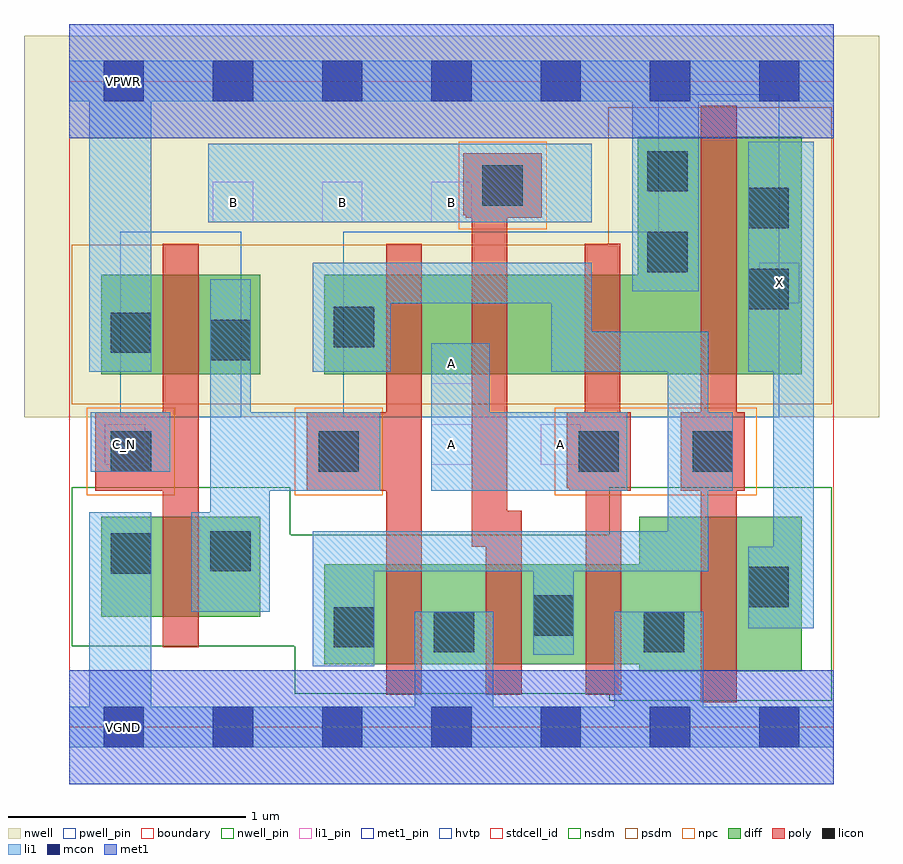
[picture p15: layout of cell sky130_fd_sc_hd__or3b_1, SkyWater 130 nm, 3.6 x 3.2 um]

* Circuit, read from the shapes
.subckt sky130_fd_sc_hd__or3b_1 A B C_N VGND VNB VPB VPWR X
XM1 n1 C_N VGND VNB sky130_fd_pr__nfet_01v8 w=0.42 l=0.15
XM2 VGND n1 n2 VNB sky130_fd_pr__nfet_01v8 w=0.42 l=0.15
XM3 n2 B VGND VNB sky130_fd_pr__nfet_01v8 w=0.42 l=0.15
XM4 VGND A n2 VNB sky130_fd_pr__nfet_01v8 w=0.42 l=0.15
XM5 X n2 VGND VNB sky130_fd_pr__nfet_01v8 w=0.65 l=0.15
XM6 n1 C_N VPWR VPB sky130_fd_pr__pfet_01v8_hvt w=0.42 l=0.15
XM7 n3 n1 n2 VPB sky130_fd_pr__pfet_01v8_hvt w=0.42 l=0.15
XM8 n4 B n3 VPB sky130_fd_pr__pfet_01v8_hvt w=0.42 l=0.15
XM9 VPWR A n4 VPB sky130_fd_pr__pfet_01v8_hvt w=0.42 l=0.15
XM10 X n2 VPWR VPB sky130_fd_pr__pfet_01v8_hvt w=1 l=0.15
.ends

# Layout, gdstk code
import gdstk
lib = gdstk.Library(unit=1e-6, precision=1e-09)
def R(c, l, rs):  # rectangles x0, y0, x1, y1
    for r in rs: c.add(gdstk.rectangle(r[:2], r[2:], *l))
def A(c, l, x, y, w, h, nx, ny, dx, dy):  # array of equal rectangles
    R(c, l, [(x+i*dx, y+j*dy, x+i*dx+w, y+j*dy+h) for i in range(nx) for j in range(ny)])
nwell_pin = (64, 16)
nwell = (64, 20)
diff = (65, 20)
poly = (66, 20)
licon = (66, 44)
li1_pin = (67, 16)
li1 = (67, 20)
mcon = (67, 44)
met1_pin = (68, 16)
met1 = (68, 20)
hvtp = (78, 44)
stdcell_id = (81, 4)
nsdm = (93, 44)
psdm = (94, 20)
npc = (95, 20)
pwell_pin = (122, 16)
boundary = (235, 4)

sky130_fd_sc_hd__or3b_1 = lib.new_cell('sky130_fd_sc_hd__or3b_1')
R(sky130_fd_sc_hd__or3b_1, nwell_pin, [(0.145,2.635,0.315,2.805)])
R(sky130_fd_sc_hd__or3b_1, nwell, [(-0.19,1.305,3.41,2.91)])
R(sky130_fd_sc_hd__or3b_1, diff, [(2.4,0.235,3.085,0.265), (1.075,0.265,3.085,0.685), (0.135,0.465,0.805,0.885), (2.4,0.685,3.085,0.885), (0.135,1.485,0.805,1.905), (1.075,1.485,3.085,1.905), (2.395,1.905,3.085,2.485)])
R(sky130_fd_sc_hd__or3b_1, poly, [(2.66,0.105,2.81,0.995), (1.335,0.135,1.485,0.995), (1.755,0.135,1.905,0.76), (2.175,0.135,2.325,0.995), (0.395,0.335,0.545,0.995), (1.695,0.76,1.905,0.91), (1.695,0.91,1.845,2.145), (0.11,0.995,0.545,1.325), (1,0.995,1.485,1.325), (2.105,0.995,2.365,1.005), (2.575,0.995,2.845,1.325), (2.095,1.005,2.365,1.325), (0.395,1.325,0.545,2.035), (1.335,1.325,1.485,2.035), (2.17,1.325,2.32,2.035), (2.66,1.325,2.81,2.615), (1.67,2.145,1.99,2.155), (1.66,2.155,1.99,2.415)])
R(sky130_fd_sc_hd__or3b_1, licon, [(1.535,0.315,1.705,0.485), (2.42,0.315,2.59,0.485), (1.115,0.335,1.285,0.505), (1.955,0.385,2.125,0.555), (2.86,0.505,3.03,0.675), (0.175,0.645,0.345,0.815), (0.595,0.655,0.765,0.825), (0.175,1.075,0.345,1.245), (1.05,1.075,1.22,1.245), (2.145,1.075,2.315,1.245), (2.625,1.075,2.795,1.245), (0.595,1.545,0.765,1.715), (0.175,1.575,0.345,1.745), (1.115,1.6,1.285,1.77), (2.86,1.76,3.03,1.93), (2.435,1.915,2.605,2.085), (2.86,2.1,3.03,2.27), (1.74,2.195,1.91,2.365), (2.435,2.255,2.605,2.425)])
A(sky130_fd_sc_hd__or3b_1, li1_pin, 0.605, 2.125, 0.17, 0.17, 3, 1, 0.46, 0)
R(sky130_fd_sc_hd__or3b_1, li1_pin, [(0.15,1.105,0.32,1.275), (1.525,1.105,1.695,1.275), (1.985,1.105,2.155,1.275), (1.525,1.445,1.695,1.615), (2.905,1.785,3.075,1.955)])
R(sky130_fd_sc_hd__or3b_1, li1, [(0,-0.085,3.22,0.085), (0.085,0.085,0.345,0.905), (1.455,0.085,1.785,0.485), (2.295,0.085,2.67,0.485), (1.025,0.255,1.285,0.655), (1.955,0.305,2.125,0.655), (2.86,0.415,3.135,0.76), (0.515,0.485,0.845,0.905), (1.025,0.655,2.69,0.825), (2.965,0.76,3.135,1.495), (2.52,0.825,2.69,0.995), (0.595,0.905,0.845,0.995), (0.595,0.995,1.31,1.325), (1.525,0.995,2.35,1.325), (2.52,0.995,2.795,1.325), (0.09,1.075,0.425,1.325), (0.595,1.325,0.765,1.885), (1.525,1.325,1.77,1.615), (2.52,1.325,2.69,1.495), (0.085,1.495,0.345,2.635), (1.025,1.495,1.355,1.785), (2.03,1.495,2.69,1.665), (2.86,1.495,3.135,2.465), (2.03,1.665,2.2,1.785), (1.025,1.785,2.2,1.955), (2.37,1.835,2.65,2.635), (0.585,2.125,2.2,2.455), (0,2.635,3.22,2.805)])
A(sky130_fd_sc_hd__or3b_1, mcon, 0.145, -0.085, 0.17, 0.17, 7, 2, 0.46, 2.72)
R(sky130_fd_sc_hd__or3b_1, met1_pin, [(0.145,-0.085,0.315,0.085), (0.145,2.635,0.315,2.805)])
R(sky130_fd_sc_hd__or3b_1, met1, [(0,-0.24,3.22,0.24), (0,2.48,3.22,2.96)])
R(sky130_fd_sc_hd__or3b_1, hvtp, [(0.215,1.305,0.725,2.085), (1.155,1.305,2.99,2.085), (2.48,2.085,2.99,2.665)])
R(sky130_fd_sc_hd__or3b_1, stdcell_id, [(0,0,3.22,2.72)])
R(sky130_fd_sc_hd__or3b_1, nsdm, [(2.275,0.11,3.21,0.14), (0.95,0.14,3.21,0.34), (0.01,0.34,3.21,0.81), (0.01,0.81,0.93,1.01), (2.275,0.81,3.21,1.01)])
R(sky130_fd_sc_hd__or3b_1, psdm, [(0.01,1.36,3.21,2.03), (2.27,2.03,3.21,2.61)])
R(sky130_fd_sc_hd__or3b_1, npc, [(0.075,0.975,0.445,1.345), (0.95,0.975,1.32,1.345), (2.045,0.975,2.895,1.345), (1.64,2.095,2.01,2.465)])
R(sky130_fd_sc_hd__or3b_1, pwell_pin, [(0.145,-0.085,0.315,0.085)])
R(sky130_fd_sc_hd__or3b_1, boundary, [(0,0,3.22,2.72)])
sky130_fd_sc_hd__or3b_1.add(gdstk.Label('VGND', (0.23,0), layer=68, texttype=5))
sky130_fd_sc_hd__or3b_1.add(gdstk.Label('VPWR', (0.23,2.72), layer=68, texttype=5))
sky130_fd_sc_hd__or3b_1.add(gdstk.Label('VPB', (0.23,2.72), layer=64, texttype=5))
sky130_fd_sc_hd__or3b_1.add(gdstk.Label('VNB', (0.23,0), layer=64, texttype=59))
sky130_fd_sc_hd__or3b_1.add(gdstk.Label('B', (1.61,2.21), layer=67, texttype=5))
sky130_fd_sc_hd__or3b_1.add(gdstk.Label('B', (0.69,2.21), layer=67, texttype=5))
sky130_fd_sc_hd__or3b_1.add(gdstk.Label('B', (1.15,2.21), layer=67, texttype=5))
sky130_fd_sc_hd__or3b_1.add(gdstk.Label('C_N', (0.235,1.19), layer=67, texttype=5))
sky130_fd_sc_hd__or3b_1.add(gdstk.Label('A', (1.61,1.19), layer=67, texttype=5))
sky130_fd_sc_hd__or3b_1.add(gdstk.Label('A', (2.07,1.19), layer=67, texttype=5))
sky130_fd_sc_hd__or3b_1.add(gdstk.Label('A', (1.61,1.53), layer=67, texttype=5))
sky130_fd_sc_hd__or3b_1.add(gdstk.Label('X', (2.99,1.87), layer=67, texttype=5))

lib.write_gds('sky130_fd_sc_hd__or3b_1.gds')
